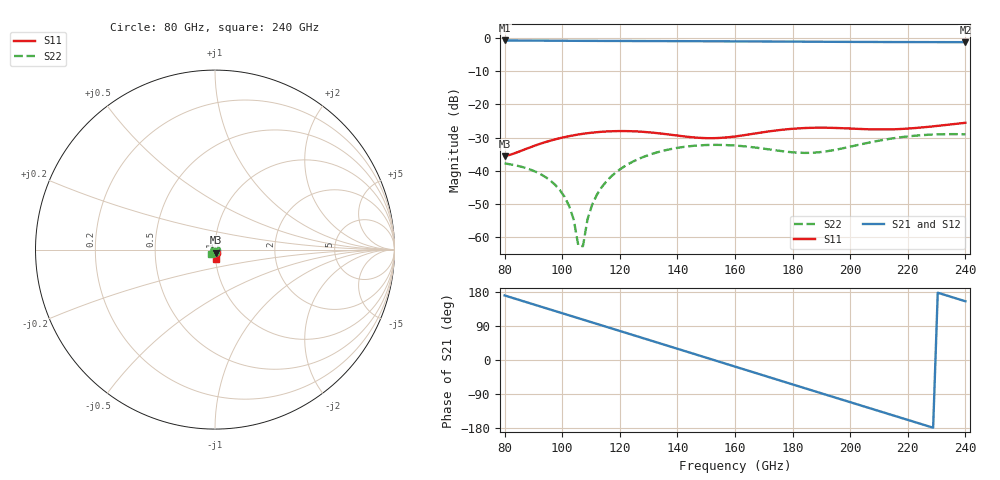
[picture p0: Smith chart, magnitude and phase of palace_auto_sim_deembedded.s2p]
! Created with skrf 1.11.0 (http://scikit-rf.org).
# GHz S DB R 50.0
!freq dBS11 angS11 dBS21 angS21 dBS12 angS12 dBS22 angS22
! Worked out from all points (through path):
!   101 points, 80 GHz to 240 GHz, reference 50 ohm
!   highest |S21| = -0.83 dB at 80 GHz (marker M1); lowest = -1.3 dB at 240 GHz (marker M2)
!   group delay of S21, straight-line fit = 6.52 ps
!   lowest |S11| = -35.6 dB at 80 GHz (marker M3), VSWR 1.03, Z = 50.3 - j1.63 ohm
!   |S11| at or under -10 dB: start of sweep to end of sweep
!   |S22| runs from -62.7 to -29.0 dB; largest |S21 - S12| = 1e-13
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80  -35.61 -77.7  -0.83 170.4  -0.83 170.4  -37.78 -92.5
89.6  -32.72 -63.4  -0.87 147.8  -0.87 147.8  -39.85 -104.5
97.6  -30.54 -65.1  -0.91 129.1  -0.91 129.1  -44.27 -118.6
100.8  -29.88 -67.3  -0.92 121.6  -0.92 121.6  -47.82 -123.6
102.4  -29.59 -68.5  -0.93 117.9  -0.93 117.9  -50.55 -125.0
104  -29.33 -69.9  -0.93 114.1  -0.93 114.1  -54.69 -123.5
105.6  -29.10 -71.3  -0.94 110.4  -0.94 110.4  -62.50 -105.6
107.2  -28.88 -72.8  -0.94 106.6  -0.94 106.6  -62.66 -0.8
108.8  -28.70 -74.4  -0.95 102.9  -0.95 102.9  -54.54 18.0
110.4  -28.54 -75.9  -0.96 99.1  -0.96 99.1  -50.18 19.4
112  -28.40 -77.5  -0.96 95.4  -0.96 95.4  -47.26 17.7
115.2  -28.19 -80.8  -0.97 87.9  -0.97 87.9  -43.32 11.8
123.2  -28.09 -88.5  -0.99 69.1  -0.99 69.1  -37.85 -7.0
134.4  -28.82 -95.9  -1.02 42.8  -1.02 42.8  -34.12 -36.5
147.2  -30.07 -93.3  -1.06 12.7  -1.06 12.7  -32.39 -73.8
160  -29.68 -83.0  -1.10 -17.4  -1.10 -17.4  -32.42 -116.8
174.4  -27.87 -81.5  -1.15 -51.3  -1.15 -51.3  -33.88 -177.7
187.2  -27.07 -87.2  -1.21 -81.3  -1.21 -81.3  -34.56 111.9
200  -27.30 -90.9  -1.26 -111.3  -1.26 -111.3  -32.75 41.0
214.4  -27.54 -86.8  -1.30 -145.0  -1.30 -145.0  -30.30 -25.4
227.2  -26.78 -81.9  -1.32 -174.9  -1.32 -174.9  -29.17 -79.1
240  -25.58 -81.3  -1.34 155.0  -1.34 155.0  -29.03 -133.0
